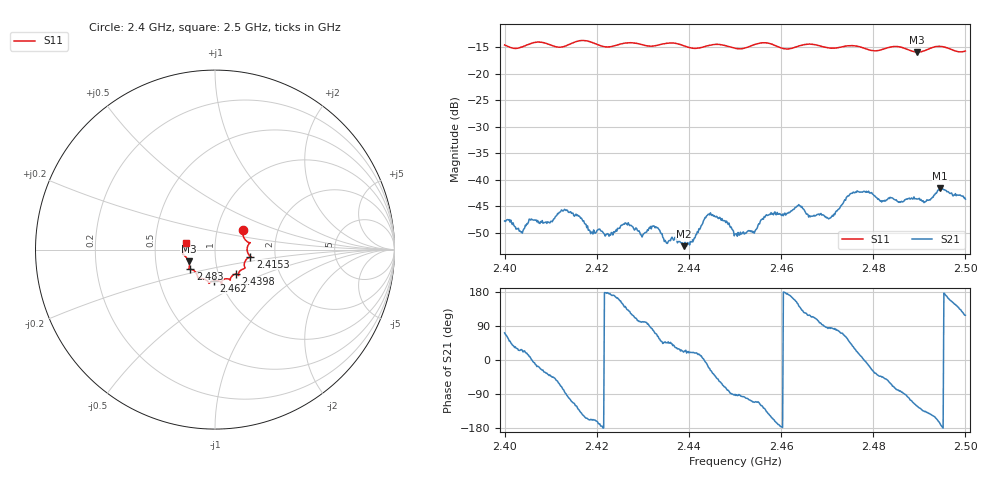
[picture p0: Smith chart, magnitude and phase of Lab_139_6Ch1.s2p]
# Hz S RI R 50
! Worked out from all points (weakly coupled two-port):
!   601 points, 2.4 GHz to 2.5 GHz, reference 50 ohm
!   highest |S21| = -41.59 dB at 2.4945 GHz (marker M1); lowest = -52.5 dB at 2.4388 GHz (marker M2)
!   lowest |S11| = -15.9 dB at 2.4895 GHz (marker M3), VSWR 1.38, Z = 37 - j5.01 ohm
!   |S11| at or under -10 dB: start of sweep to end of sweep
!   S12 and S22 are empty: the file has one direction only
!   S11 on the Smith chart (normalised r, x): 2.4 GHz: 1.33, +0.29; 2.4153 GHz: 1.48, -0.12; 2.4398 GHz: 1.21, -0.34; 2.462 GHz: 0.93, -0.33; 2.483 GHz: 0.74, -0.17; 2.5 GHz: 0.72, +0.06
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2.4e9  0.1547 0.1064  0.00129 0.00388  0 0  0 0
2.403667e9  0.1714 0.0516  0.00286 0.00149  0 0  0 0
2.405833e9  0.1909 0.0389  0.00426 8.5e-05  0 0  0 0
2.415333e9  0.1969 -0.0386  -0.00235 -0.00403  0 0  0 0
2.416667e9  0.2023 -0.0427  -0.00332 -0.00281  0 0  0 0
2.422167e9  0.167 -0.0667  -0.00306 0.000217  0 0  0 0
2.426333e9  0.1675 -0.1015  -0.00289 0.00256  0 0  0 0
2.429833e9  0.1543 -0.109  -0.000531 0.00283  0 0  0 0
2.433333e9  0.1309 -0.1338  0.00163 0.00308  0 0  0 0
2.438833e9  0.1235 -0.1375  0.00221 0.000835  0 0  0 0
2.439833e9  0.115 -0.1364  0.0023 0.000951  0 0  0 0
2.444333e9  0.085 -0.1652  0.00442 -0.00169  0 0  0 0
2.45e9  0.0646 -0.1624  -3.33e-05 -0.00306  0 0  0 0
2.462e9  -0.00517 -0.1733  -0.00489 0.000896  0 0  0 0
2.466667e9  -0.034 -0.1877  -0.00179 0.00417  0 0  0 0
2.470833e9  -0.0564 -0.1655  0.00038 0.0044  0 0  0 0
2.476167e9  -0.0947 -0.1574  0.00683 0.00348  0 0  0 0
2.483e9  -0.1376 -0.1096  0.00396 -0.0051  0 0  0 0
2.483333e9  -0.14 -0.1093  0.00372 -0.00561  0 0  0 0
2.4895e9  -0.1463 -0.066  -0.00342 -0.00562  0 0  0 0
2.4945e9  -0.1806 -0.0215  -0.00815 -0.00173  0 0  0 0
2.5e9  -0.1597 0.0394  -0.00308 0.0058  0 0  0 0
